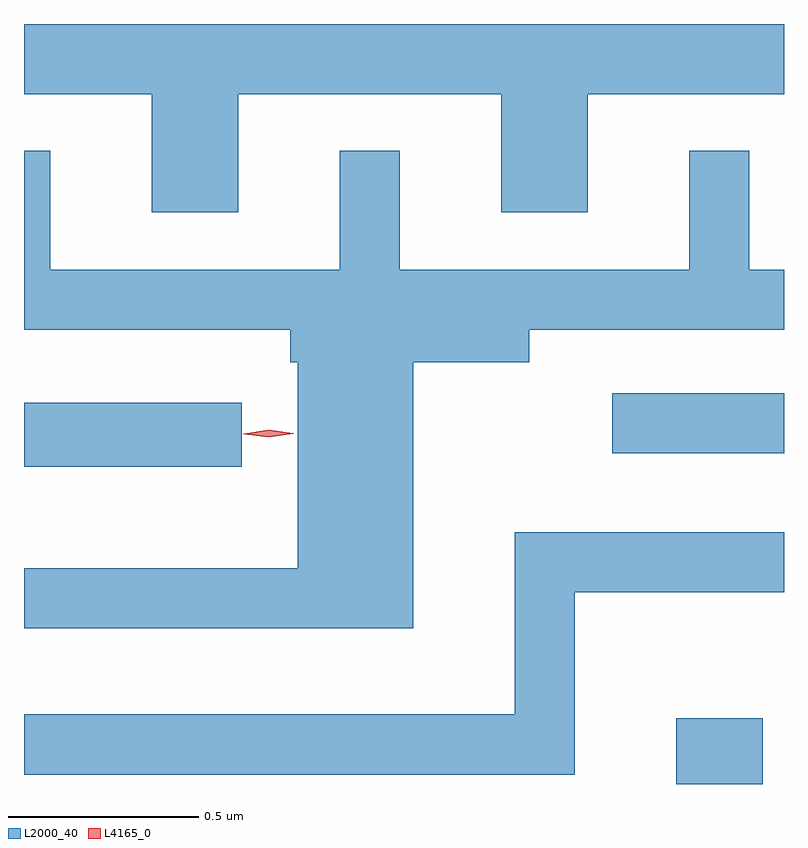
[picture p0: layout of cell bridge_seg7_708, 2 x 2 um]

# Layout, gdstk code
import gdstk
lib = gdstk.Library(unit=1e-6, precision=1e-09)
def R(c, l, rs):  # rectangles x0, y0, x1, y1
    for r in rs: c.add(gdstk.rectangle(r[:2], r[2:], *l))
def P(c, l, *ps):  # polygons
    for p in ps: c.add(gdstk.Polygon(p, *l))
L2000_40 = (2000, 40)
L4165_0 = (4165, 0)

bridge_seg7_708 = lib.new_cell('bridge_seg7_708')
R(bridge_seg7_708, L2000_40, [(969.971,1683.641,970.199,1683.814), (968.255,1684.476,968.828,1684.644), (969.803,1684.511,970.255,1684.669)])
P(bridge_seg7_708, L2000_40, [(968.819,1685.456),(969.511,1685.456),(969.511,1685.146),(969.739,1685.146),(969.739,1685.456),(970.255,1685.456),(970.255,1685.641),(968.255,1685.641),(968.255,1685.456),(968.591,1685.456),(968.591,1685.146),(968.819,1685.146)],
  [(969.279,1684.751),(969.584,1684.751),(969.584,1684.836),(970.255,1684.836),(970.255,1684.994),(970.164,1684.994),(970.164,1685.308),(970.006,1685.308),(970.006,1684.994),(969.244,1684.994),(969.244,1685.308),(969.086,1685.308),(969.086,1684.994),(968.324,1684.994),(968.324,1685.308),(968.255,1685.308),(968.255,1684.836),(968.956,1684.836),(968.956,1684.751),(968.976,1684.751),(968.976,1684.209),(968.255,1684.209),(968.255,1684.051),(969.279,1684.051)],
  [(969.704,1684.146),(970.255,1684.146),(970.255,1684.304),(969.546,1684.304),(969.546,1683.824),(968.255,1683.824),(968.255,1683.666),(969.704,1683.666)])
P(bridge_seg7_708, L4165_0, [(968.899,1684.553),(968.833,1684.562),(968.833,1684.563),(968.833,1684.563),(968.899,1684.573),(968.964,1684.564),(968.965,1684.563),(968.964,1684.563)])

lib.write_gds('bridge_seg7_708.gds')
